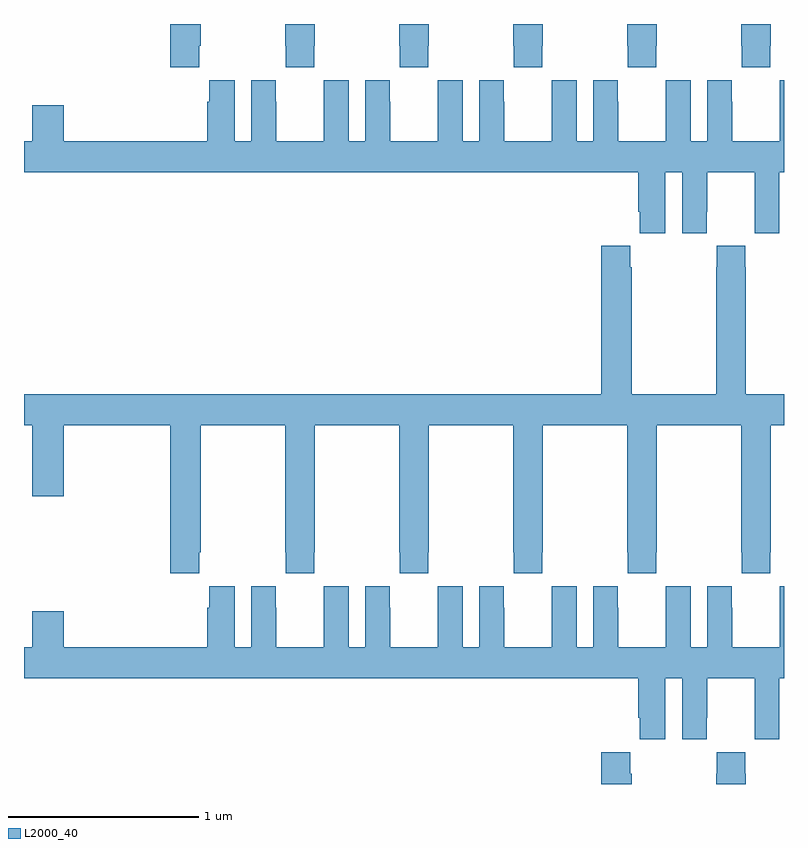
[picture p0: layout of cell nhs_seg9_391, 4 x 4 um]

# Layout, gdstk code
import gdstk
lib = gdstk.Library(unit=1e-6, precision=1e-09)
def P(c, l, *ps):  # polygons
    for p in ps: c.add(gdstk.Polygon(p, *l))
L2000_40 = (2000, 40)

nhs_seg9_391 = lib.new_cell('nhs_seg9_391')
P(nhs_seg9_391, L2000_40, [(129.923,1230.385),(129.93,1230.385),(129.93,1230.5),(129.77,1230.5),(129.77,1230.273),(129.923,1230.273)],
  [(130.527,1230.385),(130.53,1230.385),(130.53,1230.5),(130.375,1230.5),(130.375,1230.385),(130.377,1230.385),(130.377,1230.273),(130.527,1230.273)],
  [(131.127,1230.385),(131.13,1230.385),(131.13,1230.5),(130.975,1230.5),(130.975,1230.385),(130.977,1230.385),(130.977,1230.273),(131.127,1230.273)],
  [(131.727,1230.385),(131.73,1230.385),(131.73,1230.5),(131.575,1230.5),(131.575,1230.385),(131.577,1230.385),(131.577,1230.273),(131.727,1230.273)],
  [(132.327,1230.385),(132.33,1230.385),(132.33,1230.5),(132.175,1230.5),(132.175,1230.385),(132.177,1230.385),(132.177,1230.273),(132.327,1230.273)],
  [(132.927,1230.385),(132.93,1230.385),(132.93,1230.5),(132.775,1230.5),(132.775,1230.385),(132.777,1230.385),(132.777,1230.273),(132.927,1230.273)],
  [(132.376,1229.72),(132.464,1229.72),(132.464,1229.4),(132.594,1229.4),(132.594,1229.512),(132.595,1229.512),(132.595,1229.72),(132.845,1229.72),(132.845,1229.512),(132.846,1229.512),(132.846,1229.4),(132.976,1229.4),(132.976,1229.72),(133,1229.72),(133,1230.205),(132.978,1230.205),(132.978,1230.092),(132.977,1230.092),(132.977,1229.884),(132.727,1229.884),(132.727,1230.092),(132.726,1230.092),(132.726,1230.205),(132.596,1230.205),(132.596,1229.884),(132.508,1229.884),(132.508,1230.205),(132.378,1230.205),(132.378,1230.092),(132.377,1230.092),(132.377,1229.884),(132.127,1229.884),(132.127,1230.092),(132.126,1230.092),(132.126,1230.205),(131.996,1230.205),(131.996,1229.884),(131.908,1229.884),(131.908,1230.205),(131.778,1230.205),(131.778,1230.092),(131.777,1230.092),(131.777,1229.884),(131.527,1229.884),(131.527,1230.092),(131.526,1230.092),(131.526,1230.205),(131.396,1230.205),(131.396,1229.884),(131.308,1229.884),(131.308,1230.205),(131.178,1230.205),(131.178,1230.092),(131.177,1230.092),(131.177,1229.884),(130.927,1229.884),(130.927,1230.092),(130.926,1230.092),(130.926,1230.205),(130.796,1230.205),(130.796,1229.884),(130.708,1229.884),(130.708,1230.205),(130.578,1230.205),(130.578,1230.092),(130.577,1230.092),(130.577,1229.884),(130.327,1229.884),(130.327,1230.092),(130.326,1230.092),(130.326,1230.205),(130.196,1230.205),(130.196,1229.884),(130.108,1229.884),(130.108,1230.205),(129.974,1230.205),(129.974,1230.092),(129.965,1230.092),(129.965,1229.884),(129.208,1229.884),(129.208,1230.073),(129.044,1230.073),(129.044,1229.884),(129,1229.884),(129,1229.72),(132.233,1229.72),(132.233,1229.512),(132.242,1229.512),(132.242,1229.4),(132.376,1229.4)],
  [(129.923,1227.721),(129.93,1227.721),(129.93,1228.388),(130.375,1228.388),(130.375,1227.721),(130.377,1227.721),(130.377,1227.609),(130.527,1227.609),(130.527,1227.721),(130.53,1227.721),(130.53,1228.388),(130.975,1228.388),(130.975,1227.721),(130.977,1227.721),(130.977,1227.609),(131.127,1227.609),(131.127,1227.721),(131.13,1227.721),(131.13,1228.388),(131.575,1228.388),(131.575,1227.721),(131.577,1227.721),(131.577,1227.609),(131.727,1227.609),(131.727,1227.721),(131.73,1227.721),(131.73,1228.388),(132.175,1228.388),(132.175,1227.721),(132.177,1227.721),(132.177,1227.609),(132.327,1227.609),(132.327,1227.721),(132.33,1227.721),(132.33,1228.388),(132.775,1228.388),(132.775,1227.721),(132.777,1227.721),(132.777,1227.609),(132.927,1227.609),(132.927,1227.721),(132.93,1227.721),(132.93,1228.388),(133,1228.388),(133,1228.552),(132.798,1228.552),(132.798,1229.219),(132.795,1229.219),(132.795,1229.332),(132.645,1229.332),(132.645,1229.219),(132.643,1229.219),(132.643,1228.552),(132.198,1228.552),(132.198,1229.219),(132.191,1229.219),(132.191,1229.332),(132.038,1229.332),(132.038,1228.552),(129,1228.552),(129,1228.388),(129.044,1228.388),(129.044,1228.014),(129.208,1228.014),(129.208,1228.388),(129.77,1228.388),(129.77,1227.609),(129.923,1227.609)],
  [(132.376,1227.056),(132.464,1227.056),(132.464,1226.736),(132.594,1226.736),(132.594,1226.848),(132.595,1226.848),(132.595,1227.056),(132.845,1227.056),(132.845,1226.848),(132.846,1226.848),(132.846,1226.736),(132.976,1226.736),(132.976,1227.056),(133,1227.056),(133,1227.541),(132.978,1227.541),(132.978,1227.428),(132.977,1227.428),(132.977,1227.22),(132.727,1227.22),(132.727,1227.428),(132.726,1227.428),(132.726,1227.541),(132.596,1227.541),(132.596,1227.22),(132.508,1227.22),(132.508,1227.541),(132.378,1227.541),(132.378,1227.428),(132.377,1227.428),(132.377,1227.22),(132.127,1227.22),(132.127,1227.428),(132.126,1227.428),(132.126,1227.541),(131.996,1227.541),(131.996,1227.22),(131.908,1227.22),(131.908,1227.541),(131.778,1227.541),(131.778,1227.428),(131.777,1227.428),(131.777,1227.22),(131.527,1227.22),(131.527,1227.428),(131.526,1227.428),(131.526,1227.541),(131.396,1227.541),(131.396,1227.22),(131.308,1227.22),(131.308,1227.541),(131.178,1227.541),(131.178,1227.428),(131.177,1227.428),(131.177,1227.22),(130.927,1227.22),(130.927,1227.428),(130.926,1227.428),(130.926,1227.541),(130.796,1227.541),(130.796,1227.22),(130.708,1227.22),(130.708,1227.541),(130.578,1227.541),(130.578,1227.428),(130.577,1227.428),(130.577,1227.22),(130.327,1227.22),(130.327,1227.428),(130.326,1227.428),(130.326,1227.541),(130.196,1227.541),(130.196,1227.22),(130.108,1227.22),(130.108,1227.541),(129.974,1227.541),(129.974,1227.428),(129.965,1227.428),(129.965,1227.22),(129.208,1227.22),(129.208,1227.409),(129.044,1227.409),(129.044,1227.22),(129,1227.22),(129,1227.056),(132.233,1227.056),(132.233,1226.848),(132.242,1226.848),(132.242,1226.736),(132.376,1226.736)],
  [(132.198,1226.555),(132.191,1226.555),(132.191,1226.668),(132.038,1226.668),(132.038,1226.5),(132.198,1226.5)],
  [(132.798,1226.555),(132.795,1226.555),(132.795,1226.668),(132.645,1226.668),(132.645,1226.555),(132.643,1226.555),(132.643,1226.5),(132.798,1226.5)])

lib.write_gds('nhs_seg9_391.gds')
